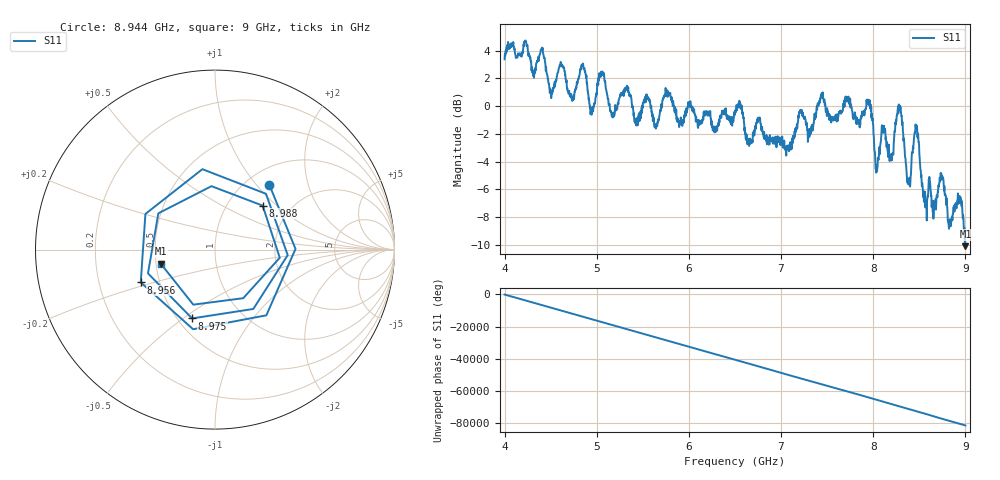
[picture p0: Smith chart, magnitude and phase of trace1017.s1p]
! Created with skrf 1.8.0 (http://scikit-rf.org).
# Hz S RI R 50.0
!freq ReS11 ImS11
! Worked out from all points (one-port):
!   1601 points, 4 GHz to 9 GHz, reference 50 ohm
!   lowest |S11| = -10.1 dB at 9 GHz (marker M1), VSWR 1.91, Z = 26.5 - j4.6 ohm
!   |S11| at or under -10 dB: 8.9938 GHz to 8.994577 GHz (777.3 kHz wide, 0.00864 % of centre); 8.99932 GHz to end of sweep
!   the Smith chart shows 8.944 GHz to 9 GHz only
!   S11 on the Smith chart (normalised r, x): 8.944 GHz: 1.26, +1.17; 8.956 GHz: 0.39, -0.18; 8.975 GHz: 0.59, -0.54; 8.988 GHz: 1.45, +0.82; 9 GHz: 0.53, -0.09
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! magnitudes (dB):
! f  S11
! 4 GHz  3.4
! 4.406 GHz  4.2
! 4.509 GHz  1.1
! 4.625 GHz  3.0
! 4.731 GHz  0.4
! 4.856 GHz  2.7
! 4.944 GHz  -0.6
! 5.05 GHz  2.4
! 5.169 GHz  -0.6
! 5.25 GHz  0.7
! 5.875 GHz  -1.1
! 6.5 GHz  -0.3
! 7.125 GHz  -2.7
! 7.434 GHz  0.8
! 7.75 GHz  0.5
! 7.953 GHz  0.2
! 8.038 GHz  -4.3
! 8.112 GHz  -1.8
! 8.197 GHz  -3.7
! 8.284 GHz  0.0
! 8.375 GHz  -5.6
! 8.469 GHz  -1.4
! 8.562 GHz  -6.2
! 8.944 GHz  -6.5
! 8.956 GHz  -6.9
! 8.975 GHz  -7.9
! 8.988 GHz  -8.8
! 9 GHz  -10.1
